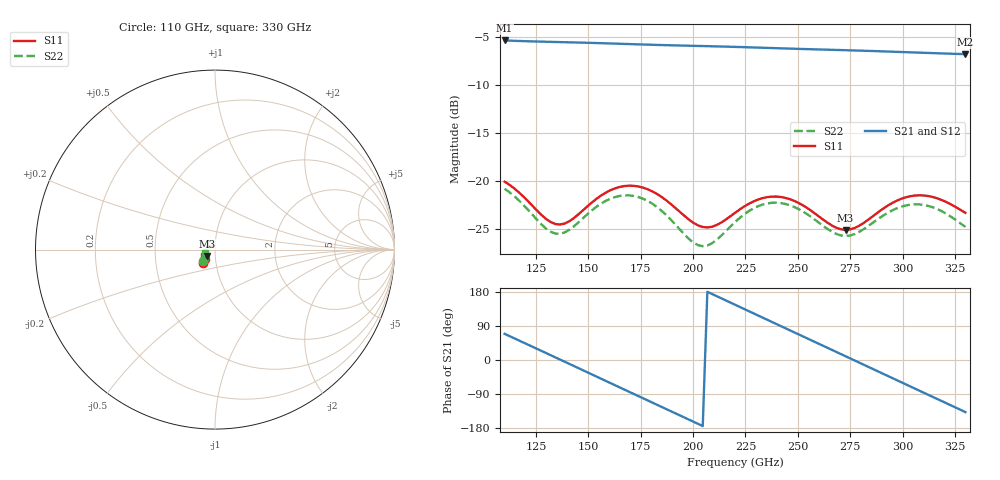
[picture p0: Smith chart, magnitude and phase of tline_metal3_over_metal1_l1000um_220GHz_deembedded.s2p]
! Created with skrf 2.0.1 (http://scikit-rf.org).
# GHz S DB R 50.0
!freq dBS11 angS11 dBS21 angS21 dBS12 angS12 dBS22 angS22
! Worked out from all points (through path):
!   101 points, 110 GHz to 330 GHz, reference 50 ohm
!   highest |S21| = -5.36 dB at 110 GHz (marker M1); lowest = -6.8 dB at 330 GHz (marker M2)
!   group delay of S21, straight-line fit = 7.16 ps
!   lowest |S11| = -25.1 dB at 272.8 GHz (marker M3), VSWR 1.12, Z = 45.8 - j3.28 ohm
!   |S11| at or under -10 dB: start of sweep to end of sweep
!   |S22| runs from -26.8 to -20.8 dB; largest |S21 - S12| = 5.5e-14
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110  -20.05 -132.7  -5.36 69.1  -5.36 69.1  -20.79 -136.2
121  -22.04 -141.2  -5.44 40.9  -5.44 40.9  -22.94 -145.0
129.8  -23.93 -137.9  -5.49 18.3  -5.49 18.3  -24.93 -141.2
138.6  -24.41 -125.6  -5.54 -4.3  -5.54 -4.3  -25.34 -128.4
147.4  -23.03 -118.3  -5.59 -27.0  -5.59 -27.0  -23.85 -121.9
158.4  -21.18 -122.8  -5.66 -55.4  -5.66 -55.4  -22.03 -127.8
167.2  -20.50 -131.8  -5.72 -78.1  -5.72 -78.1  -21.47 -137.8
176  -20.66 -141.6  -5.78 -100.7  -5.78 -100.7  -21.81 -148.4
184.8  -21.61 -149.4  -5.83 -123.4  -5.83 -123.4  -23.05 -156.7
195.8  -23.59 -151.3  -5.89 -151.7  -5.89 -151.7  -25.53 -156.9
204.6  -24.76 -142.9  -5.94 -174.3  -5.94 -174.3  -26.76 -144.0
220  -23.29 -129.7  -6.03 145.9  -6.03 145.9  -24.26 -129.3
231  -21.91 -134.1  -6.10 117.5  -6.10 117.5  -22.60 -136.1
239.8  -21.60 -141.4  -6.16 94.8  -6.16 94.8  -22.24 -145.0
248.6  -22.07 -148.3  -6.22 72.2  -6.22 72.2  -22.71 -153.1
257.4  -23.23 -151.8  -6.28 49.5  -6.28 49.5  -23.88 -157.5
272.8  -25.06 -140.3  -6.37 9.9  -6.37 9.9  -25.69 -147.5
283.8  -23.97 -129.3  -6.44 -18.5  -6.44 -18.5  -24.64 -137.9
294.8  -22.30 -130.0  -6.52 -46.9  -6.52 -46.9  -23.06 -139.8
303.6  -21.56 -135.8  -6.59 -69.5  -6.59 -69.5  -22.44 -146.4
312.4  -21.55 -142.7  -6.66 -92.2  -6.66 -92.2  -22.57 -153.9
330  -23.29 -148.9  -6.79 -137.4  -6.79 -137.4  -24.76 -159.6
